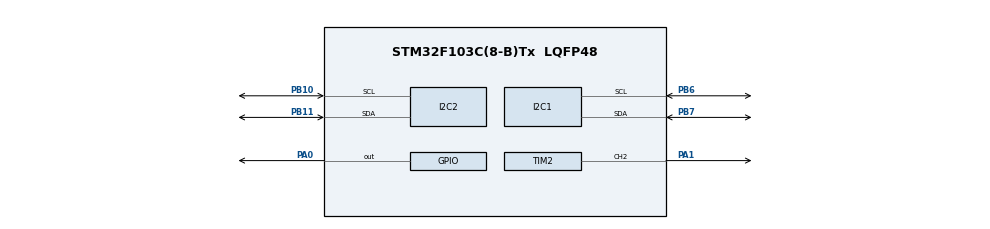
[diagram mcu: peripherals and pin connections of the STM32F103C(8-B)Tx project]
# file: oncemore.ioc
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Mcu.Family=STM32F1
Mcu.Name=STM32F103C(8-B)Tx
Mcu.Package=LQFP48
NVIC.PriorityGroup=NVIC_PRIORITYGROUP_4
PA0-WKUP.Signal=GPIO_Output
PA1.Signal=S_TIM2_CH2
PB10.Mode=I2C
PB10.Signal=I2C2_SCL
PB11.Mode=I2C
PB11.Signal=I2C2_SDA
PB6.Mode=I2C
PB6.Signal=I2C1_SCL
PB7.Mode=I2C
PB7.Signal=I2C1_SDA
ProjectManager.HeapSize=0x200
ProjectManager.StackSize=0x400
ProjectManager.TargetToolchain=STM32CubeIDE
RCC.APB1Freq_Value=8000000
RCC.APB2Freq_Value=8000000
SH.S_TIM2_CH2.0=TIM2_CH2,PWM Generation2 CH2
TIM2.Channel-PWM\ Generation2\ CH2=TIM_CHANNEL_2
TIM2.Period=9999
TIM2.Prescaler=15
VP_TIM2_VS_ClockSourceINT.Mode=Internal
board=custom

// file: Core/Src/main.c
/* USER CODE BEGIN Header */
/**
  ******************************************************************************
  * @file           : main.c
  * @brief          : Main program body
  ******************************************************************************
  * @attention
  *
  * Copyright (c) 2023 STMicroelectronics.
  * All rights reserved.
  *
  * This software is licensed under terms that can be found in the LICENSE file
  * in the root directory of this software component.
  * If no LICENSE file comes with this software, it is provided AS-IS.
  *
  ******************************************************************************
  */
/* USER CODE END Header */
#include "main.h"

/* USER CODE BEGIN Includes */
#include "liquidcrystal_i2c.h"
#include <stdio.h>
/* USER CODE END Includes */

I2C_HandleTypeDef hi2c1;
I2C_HandleTypeDef hi2c2;

TIM_HandleTypeDef htim2;

void SystemClock_Config(void);
static void MX_GPIO_Init(void);
static void MX_TIM2_Init(void);
static void MX_I2C1_Init(void);
static void MX_I2C2_Init(void);

int main(void)
{
  /* USER CODE BEGIN 1 */
#define DS3231_ADDRESS 0xD0
	uint8_t decToBcd(int val)
	{
	  return (uint8_t)( (val/10*16) + (val%10) );
	}
	// Convert binary coded decimal to normal decimal numbers
	int bcdToDec(uint8_t val)
	{
	  return (int)( (val/16*10) + (val%16) );
	}
	typedef struct {
		uint8_t seconds;
		uint8_t minutes;
		uint8_t hour;
		uint8_t dayofweek;
		uint8_t dayofmonth;
		uint8_t month;
		uint8_t year;

	}TIME;
	TIME time;
	void Set_Time (uint8_t sec, uint8_t min, uint8_t hour, uint8_t dow, uint8_t dom, uint8_t month, uint8_t year)
	{
		uint8_t set_time[7];
		set_time[0] = decToBcd(sec);
		set_time[1] = decToBcd(min);
		set_time[2] = decToBcd(hour);
		set_time[3] = decToBcd(dow);
		set_time[4] = decToBcd(dom);
		set_time[5] = decToBcd(month);
		set_time[6] = decToBcd(year);

		HAL_I2C_Mem_Write(&hi2c2, DS3231_ADDRESS, 0x00, 1, set_time, 7, 1000);
	}
	void Get_Time (void)
	{
		uint8_t get_time[7];
		HAL_I2C_Mem_Read(&hi2c2, DS3231_ADDRESS, 0x00, 1, get_time, 7, 1000);
		time.seconds = bcdToDec(get_time[0]);
		time.minutes = bcdToDec(get_time[1]);
		time.hour = bcdToDec(get_time[2]);
		time.dayofweek = bcdToDec(get_time[3]);
		time.dayofmonth = bcdToDec(get_time[4]);
		time.month = bcdToDec(get_time[5]);
		time.year = bcdToDec(get_time[6]);
	}
	char buffer[15];
	//Set_Time(00, 25, 15, 6, 6, 5, 23);
  /* USER CODE END 1 */

  /* MCU Configuration--------------------------------------------------------*/

  /* Reset of all peripherals, Initializes the Flash interface and the Systick. */
  HAL_Init();

  /* Configure the system clock */
  SystemClock_Config();

  /* Initialize all configured peripherals */
  MX_GPIO_Init();
  MX_TIM2_Init();
  MX_I2C1_Init();
  MX_I2C2_Init();
  /* USER CODE BEGIN 2 */
  HAL_TIM_PWM_Start(&htim2, TIM_CHANNEL_2);
  /* USER CODE END 2 */

  /* Infinite loop */
  /* USER CODE BEGIN WHILE */
  while (1)
  {
	  HD44780_Init(2);
	  Get_Time();
	  sprintf (buffer, "%02d:%02d:%02d", time.hour, time.minutes, time.seconds);
	  HD44780_SetCursor(0,0);
	  HD44780_PrintStr(buffer);

	  sprintf (buffer, "%02d-%02d-20%02d", time.dayofmonth, time.month, time.year);
	  HD44780_SetCursor(0,1);
	  HD44780_PrintStr(buffer);
	  if((time.seconds)%10 == 0)
	  {
	  int x;
	 	      for(x=250; x<750; x=x+1)
	 	      {
	 	        __HAL_TIM_SET_COMPARE(&htim2,TIM_CHANNEL_2, x);
	 	        HAL_GPIO_TogglePin(GPIOA,GPIO_PIN_0);
	 	        HAL_Delay(2);

	 	      }
	 	}

    /* USER CODE END WHILE */

  }
}

void SystemClock_Config(void)
{
  RCC_OscInitTypeDef RCC_OscInitStruct = {0};
  RCC_ClkInitTypeDef RCC_ClkInitStruct = {0};

  /** Initializes the RCC Oscillators according to the specified parameters
  * in the RCC_OscInitTypeDef structure.
  */
  RCC_OscInitStruct.OscillatorType = RCC_OSCILLATORTYPE_HSI;
  RCC_OscInitStruct.HSIState = RCC_HSI_ON;
  RCC_OscInitStruct.HSICalibrationValue = RCC_HSICALIBRATION_DEFAULT;
  RCC_OscInitStruct.PLL.PLLState = RCC_PLL_NONE;
  if (HAL_RCC_OscConfig(&RCC_OscInitStruct) != HAL_OK)
  {
    Error_Handler();
  }

  /** Initializes the CPU, AHB and APB buses clocks
  */
  RCC_ClkInitStruct.ClockType = RCC_CLOCKTYPE_HCLK|RCC_CLOCKTYPE_SYSCLK
                              |RCC_CLOCKTYPE_PCLK1|RCC_CLOCKTYPE_PCLK2;
  RCC_ClkInitStruct.SYSCLKSource = RCC_SYSCLKSOURCE_HSI;
  RCC_ClkInitStruct.AHBCLKDivider = RCC_SYSCLK_DIV1;
  RCC_ClkInitStruct.APB1CLKDivider = RCC_HCLK_DIV1;
  RCC_ClkInitStruct.APB2CLKDivider = RCC_HCLK_DIV1;

  if (HAL_RCC_ClockConfig(&RCC_ClkInitStruct, FLASH_LATENCY_0) != HAL_OK)
  {
    Error_Handler();
  }
}

static void MX_I2C1_Init(void)
{

  hi2c1.Instance = I2C1;
  hi2c1.Init.ClockSpeed = 100000;
  hi2c1.Init.DutyCycle = I2C_DUTYCYCLE_2;
  hi2c1.Init.OwnAddress1 = 0;
  hi2c1.Init.AddressingMode = I2C_ADDRESSINGMODE_7BIT;
  hi2c1.Init.DualAddressMode = I2C_DUALADDRESS_DISABLE;
  hi2c1.Init.OwnAddress2 = 0;
  hi2c1.Init.GeneralCallMode = I2C_GENERALCALL_DISABLE;
  hi2c1.Init.NoStretchMode = I2C_NOSTRETCH_DISABLE;
  if (HAL_I2C_Init(&hi2c1) != HAL_OK)
  {
    Error_Handler();
  }

}

static void MX_I2C2_Init(void)
{

  hi2c2.Instance = I2C2;
  hi2c2.Init.ClockSpeed = 100000;
  hi2c2.Init.DutyCycle = I2C_DUTYCYCLE_2;
  hi2c2.Init.OwnAddress1 = 0;
  hi2c2.Init.AddressingMode = I2C_ADDRESSINGMODE_7BIT;
  hi2c2.Init.DualAddressMode = I2C_DUALADDRESS_DISABLE;
  hi2c2.Init.OwnAddress2 = 0;
  hi2c2.Init.GeneralCallMode = I2C_GENERALCALL_DISABLE;
  hi2c2.Init.NoStretchMode = I2C_NOSTRETCH_DISABLE;
  if (HAL_I2C_Init(&hi2c2) != HAL_OK)
  {
    Error_Handler();
  }

}

static void MX_TIM2_Init(void)
{

  TIM_ClockConfigTypeDef sClockSourceConfig = {0};
  TIM_MasterConfigTypeDef sMasterConfig = {0};
  TIM_OC_InitTypeDef sConfigOC = {0};

  htim2.Instance = TIM2;
  htim2.Init.Prescaler = 15;
  htim2.Init.CounterMode = TIM_COUNTERMODE_UP;
  htim2.Init.Period = 9999;
  htim2.Init.ClockDivision = TIM_CLOCKDIVISION_DIV1;
  htim2.Init.AutoReloadPreload = TIM_AUTORELOAD_PRELOAD_DISABLE;
  if (HAL_TIM_Base_Init(&htim2) != HAL_OK)
  {
    Error_Handler();
  }
  sClockSourceConfig.ClockSource = TIM_CLOCKSOURCE_INTERNAL;
  if (HAL_TIM_ConfigClockSource(&htim2, &sClockSourceConfig) != HAL_OK)
  {
    Error_Handler();
  }
  if (HAL_TIM_PWM_Init(&htim2) != HAL_OK)
  {
    Error_Handler();
  }
  sMasterConfig.MasterOutputTrigger = TIM_TRGO_RESET;
  sMasterConfig.MasterSlaveMode = TIM_MASTERSLAVEMODE_DISABLE;
  if (HAL_TIMEx_MasterConfigSynchronization(&htim2, &sMasterConfig) != HAL_OK)
  {
    Error_Handler();
  }
  sConfigOC.OCMode = TIM_OCMODE_PWM1;
  sConfigOC.Pulse = 0;
  sConfigOC.OCPolarity = TIM_OCPOLARITY_HIGH;
  sConfigOC.OCFastMode = TIM_OCFAST_DISABLE;
  if (HAL_TIM_PWM_ConfigChannel(&htim2, &sConfigOC, TIM_CHANNEL_2) != HAL_OK)
  {
    Error_Handler();
  }
  HAL_TIM_MspPostInit(&htim2);

}

static void MX_GPIO_Init(void)
{
  GPIO_InitTypeDef GPIO_InitStruct = {0};

  /* GPIO Ports Clock Enable */
  __HAL_RCC_GPIOA_CLK_ENABLE();
  __HAL_RCC_GPIOB_CLK_ENABLE();

  /*Configure GPIO pin Output Level */
  HAL_GPIO_WritePin(GPIOA, GPIO_PIN_0, GPIO_PIN_RESET);

  /*Configure GPIO pin : PA0 */
  GPIO_InitStruct.Pin = GPIO_PIN_0;
  GPIO_InitStruct.Mode = GPIO_MODE_OUTPUT_PP;
  GPIO_InitStruct.Pull = GPIO_NOPULL;
  GPIO_InitStruct.Speed = GPIO_SPEED_FREQ_LOW;
  HAL_GPIO_Init(GPIOA, &GPIO_InitStruct);

}

void Error_Handler(void)
{
  __disable_irq();
  while (1)
  {
  }
}
